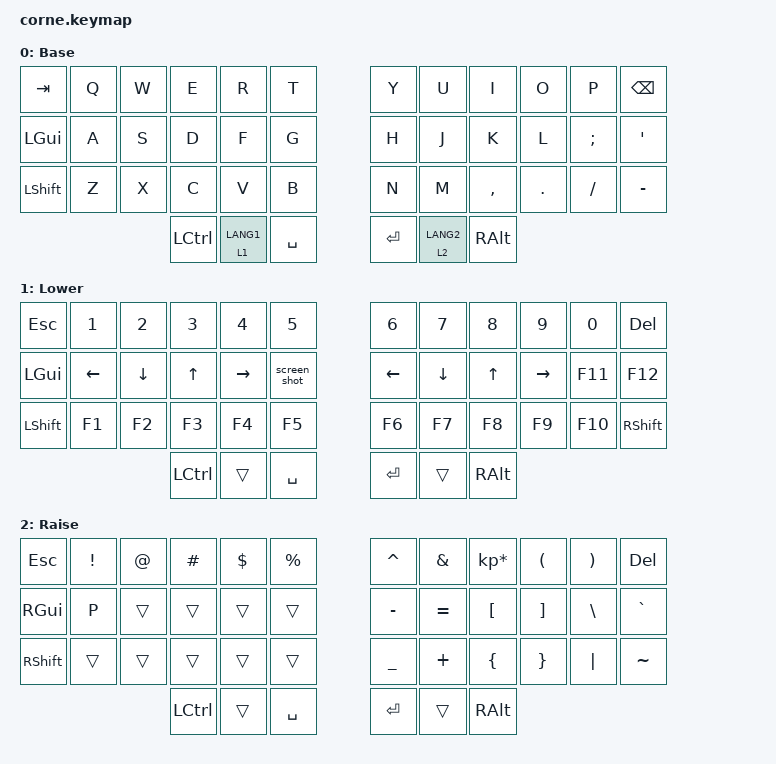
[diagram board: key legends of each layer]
/*
 * Copyright (c) 2020 The ZMK Contributors
 *
 * SPDX-License-Identifier: MIT
 */

#include <behaviors.dtsi>
#include <dt-bindings/zmk/keys.h>

/ {
    macros {
        screen_shot: screen_shot {
            compatible = "zmk,behavior-macro";
            #binding-cells = <0>;
            bindings = <&macro_press>, <&kp LEFT_SHIFT &kp LEFT_COMMAND &kp N5>;

            label = "SCREEN_SHOT";
        };
    };

    keymap {
        compatible = "zmk,keymap";

        default_layer {
            // -----------------------------------------------------------------------------------------
            // |  TAB |  Q  |  W  |  E  |  R  |  T  |   |  Y  |  U   |  I  |  O  |  P  | BKSP |
            // | CTRL |  A  |  S  |  D  |  F  |  G  |   |  H  |  J   |  K  |  L  |  ;  |  '   |
            // | SHFT |  Z  |  X  |  C  |  V  |  B  |   |  N  |  M   |  ,  |  .  |  /  | ESC  |
            //                    | GUI | LWR | SPC |   | ENT | RSE  | ALT |

            display-name = "Base";
            bindings = <
&kp TAB    &kp Q  &kp W  &kp E             &kp R        &kp T        &kp Y    &kp U        &kp I      &kp O    &kp P     &kp BSPC
&kp LGUI   &kp A  &kp S  &kp D             &kp F        &kp G        &kp H    &kp J        &kp K      &kp L    &kp SEMI  &kp SINGLE_QUOTE
&kp LSHFT  &kp Z  &kp X  &kp C             &kp V        &kp B        &kp N    &kp M        &kp COMMA  &kp DOT  &kp FSLH  &kp MINUS
                         &kp LEFT_CONTROL  &lt 1 LANG1  &kp SPACE    &kp RET  &lt 2 LANG2  &kp RALT
            >;
        };

        lower_layer {
            // -----------------------------------------------------------------------------------------
            // |  TAB |  1  |  2  |  3  |  4  |  5  |   |  6  |  7  |  8  |  9  |  0  | BKSP |
            // | BTCLR| BT1 | BT2 | BT3 | BT4 | BT5 |   | LFT | DWN |  UP | RGT |     |      |
            // | SHFT |     |     |     |     |     |   |     |     |     |     |     |      |
            //                    | GUI |     | SPC |   | ENT |     | ALT |

            display-name = "Lower";
            bindings = <
&kp ESCAPE  &kp N1    &kp N2    &kp N3            &kp N4     &kp N5          &kp N6    &kp N7    &kp N8    &kp N9     &kp N0   &kp DEL
&kp LGUI    &kp LEFT  &kp DOWN  &kp UP            &kp RIGHT  &screen_shot    &kp LEFT  &kp DOWN  &kp UP    &kp RIGHT  &kp F11  &kp F12
&kp LSHFT   &kp F1    &kp F2    &kp F3            &kp F4     &kp F5          &kp F6    &kp F7    &kp F8    &kp F9     &kp F10  &kp RSHFT
                                &kp LEFT_CONTROL  &trans     &kp SPACE       &kp RET   &trans    &kp RALT
            >;
        };

        raise_layer {
            // -----------------------------------------------------------------------------------------
            // |  TAB |  !  |  @  |  #  |  $  |  %  |   |  ^  |  &  |  *  |  (  |  )  | BKSP |
            // | CTRL |     |     |     |     |     |   |  -  |  =  |  [  |  ]  |  \  |  `   |
            // | SHFT |     |     |     |     |     |   |  _  |  +  |  {  |  }  | "|" |  ~   |
            //                    | GUI |     | SPC |   | ENT |     | ALT |

            display-name = "Raise";
            bindings = <
&kp ESCAPE  &kp EXCL  &kp AT  &kp HASH          &kp DLLR  &kp PRCNT    &kp CARET  &kp AMPS   &kp KP_MULTIPLY  &kp LPAR  &kp RPAR  &kp DEL
&kp RGUI    &kp P     &trans  &trans            &trans    &trans       &kp MINUS  &kp EQUAL  &kp LBKT         &kp RBKT  &kp BSLH  &kp GRAVE
&kp RSHFT   &trans    &trans  &trans            &trans    &trans       &kp UNDER  &kp PLUS   &kp LBRC         &kp RBRC  &kp PIPE  &kp TILDE
                              &kp LEFT_CONTROL  &trans    &kp SPACE    &kp RET    &trans     &kp RALT
            >;
        };

        extra_1 { status = "reserved"; };

        extra_2 { status = "reserved"; };

        extra_3 { status = "reserved"; };
    };
};
